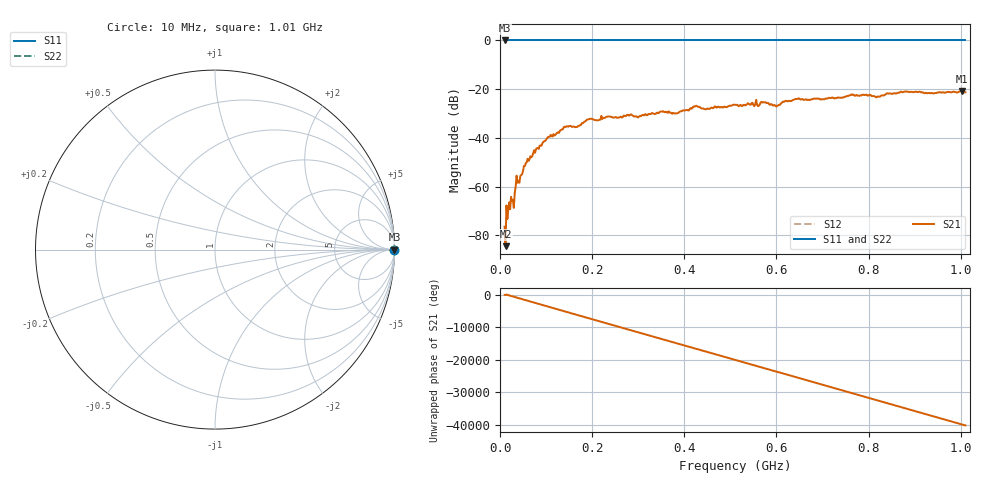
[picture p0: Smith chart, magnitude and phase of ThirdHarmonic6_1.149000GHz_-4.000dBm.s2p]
! 8/16/2025 11:22:49 AM
! C:\ANRITSUVNA\TEMP\TEMP.S2P
! CHANNEL.1
! TR.MEASUREMENT
! RAW.DATA
! RF.CORRECTION.OFF
! AVERAGING.OFF
! IF.BANDWIDTH: 5KHZ
! SWEEPTYPE:  FREQ.SWEEP(Linear)
! Reference Plane Port Info
! PORT:  PORT1  PORT2
! DISTANCE:  0  m  0  m
! TIME:  0  s  0  s
! PHASE.OFFSET:  0  deg.  0  deg.
! LOSS:  0  dB  0  dB
! REF.LOSS:  0  dB  0  dB
! REF.FREQ:  0  Hz  0  Hz
! Power Info
! POWER:  -20  dBm  -20  dBm
! EFF.POWER:  -20  dBm  -20  dBm
! SOURCE.ATTEN:  0  dB  0  dB
! TEST.ATTEN:  0  dB  0  dB
# GHZ S RI R 50.0
! FREQ.GHZ  S11RE  S11IM  S21RE  S21IM  S12RE  S12IM  S22RE  S22IM
!; PortSelection: Port_12
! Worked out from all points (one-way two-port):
!   501 points, 10 MHz to 1.01 GHz, reference 50 ohm
!   highest |S21| = -20.77 dB at 1.002 GHz (marker M1); lowest = -84.4 dB at 12 MHz (marker M2)
!   lowest |S11| = 0.0 dB at 10 MHz (marker M3)
!   |S11| at or under -10 dB: nowhere
!   |S22| runs from 0.0 to 0.0 dB; largest |S21 - S12| = 1.1
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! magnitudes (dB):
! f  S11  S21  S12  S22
! 10 MHz  0.0  -76.4  0.0  0.0
! 12 MHz  0.0  -84.4  0.0  0.0
! 18 MHz  0.0  -69.2  0.0  0.0
! 30 MHz  0.0  -68.7  0.0  0.0
! 36 MHz  0.0  -55.5  0.0  0.0
! 56 MHz  0.0  -50.4  0.0  0.0
! 76 MHz  0.0  -46.1  0.0  0.0
! 106 MHz  0.0  -39.6  0.0  0.0
! 142 MHz  0.0  -35.5  0.0  0.0
! 178 MHz  0.0  -33.9  0.0  0.0
! 194 MHz  0.0  -32.2  0.0  0.0
! 344 MHz  0.0  -29.9  0.0  0.0
! 510 MHz  0.0  -26.4  0.0  0.0
! 572 MHz  0.0  -25.4  0.0  0.0
! 600 MHz  0.0  -27.1  0.0  0.0
! 644 MHz  0.0  -24.0  0.0  0.0
! 678 MHz  0.0  -24.0  0.0  0.0
! 764 MHz  0.0  -22.3  0.0  0.0
! 820 MHz  0.0  -23.0  0.0  0.0
! 844 MHz  0.0  -21.8  0.0  0.0
! 1.002 GHz  0.0  -20.8  0.0  0.0
! 1.01 GHz  0.0  -21.3  0.0  0.0
